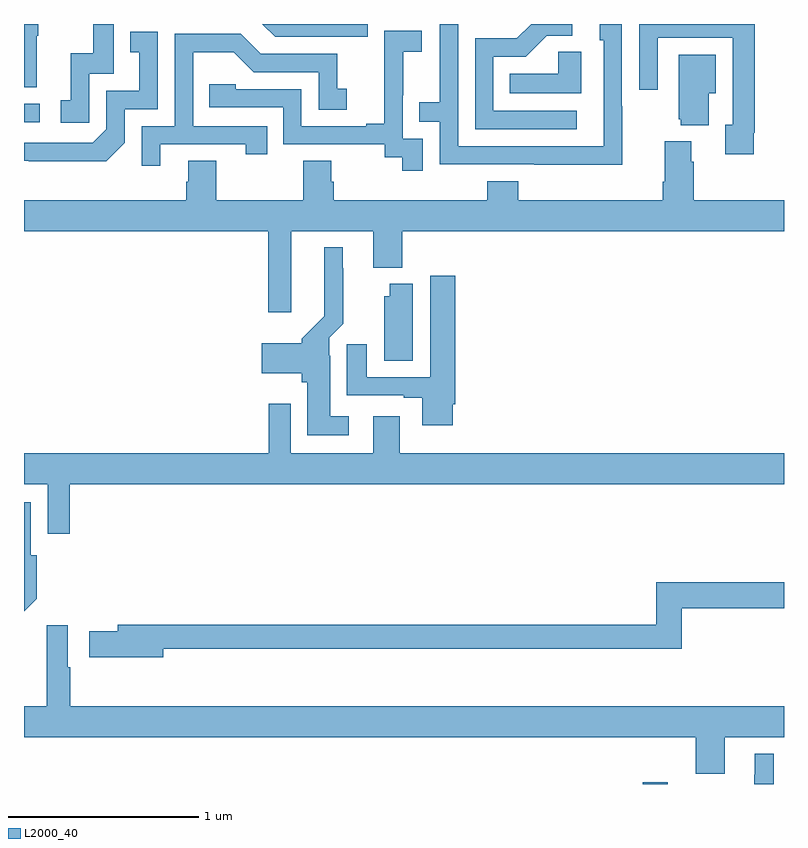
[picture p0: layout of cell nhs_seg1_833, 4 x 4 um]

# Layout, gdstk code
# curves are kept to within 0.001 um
import gdstk
lib = gdstk.Library(unit=1e-6, precision=1e-09)
def R(c, l, rs):  # rectangles x0, y0, x1, y1
    for r in rs: c.add(gdstk.rectangle(r[:2], r[2:], *l))
def P(c, l, *ps):  # polygons
    for p in ps: c.add(gdstk.Polygon(p, *l))
L2000_40 = (2000, 40)

nhs_seg1_833 = lib.new_cell('nhs_seg1_833')
R(nhs_seg1_833, L2000_40, [(160.256,506.199,160.387,506.209), (157,509.682,157.084,509.778)])
P(nhs_seg1_833, L2000_40, [(157.066,510.137),(157.074,510.137),(157.074,510.199),(157,510.199),(157,509.867),(157.066,509.867)],
  [(160.149,509.765),(160.146,509.765),(160.146,510.199),(160.031,510.199),(160.031,510.114),(160.05,510.114),(160.05,509.556),(159.285,509.556),(159.285,510.199),(159.189,510.199),(159.189,509.786),(159.079,509.786),(159.079,509.685),(159.189,509.685),(159.189,509.46),(159.685,509.46),(159.685,509.459),(160.149,509.459)],
  [(158.808,510.199),(158.255,510.199),(158.322,510.132),(158.808,510.132)],
  [(157.344,509.937),(157.473,509.937),(157.473,510.199),(157.365,510.199),(157.365,510.046),(157.247,510.046),(157.247,509.799),(157.194,509.799),(157.194,509.679),(157.344,509.679)],
  [(160.84,509.626),(160.847,509.626),(160.847,510.199),(160.239,510.199),(160.239,509.853),(160.335,509.853),(160.335,510.126),(160.731,510.126),(160.731,509.67),(160.691,509.67),(160.691,509.514),(160.84,509.514)],
  [(159.91,509.742),(159.471,509.742),(159.471,510.027),(159.64,510.027),(159.751,510.138),(159.886,510.138),(159.886,510.199),(159.67,510.199),(159.594,510.123),(159.375,510.123),(159.375,509.646),(159.91,509.646)],
  [(159.099,509.595),(158.994,509.595),(158.994,509.825),(158.996,509.825),(158.996,510.053),(159.094,510.053),(159.094,510.163),(158.896,510.163),(158.896,509.957),(158.897,509.957),(158.897,509.674),(158.801,509.674),(158.801,509.661),(158.46,509.661),(158.46,509.856),(158.115,509.856),(158.115,509.883),(157.975,509.883),(157.975,509.76),(158.364,509.76),(158.364,509.565),(158.898,509.565),(158.898,509.497),(158.991,509.497),(158.991,509.427),(159.099,509.427)],
  [(157.53,509.574),(157.53,509.751),(157.704,509.751),(157.704,510.157),(157.558,510.157),(157.558,510.051),(157.607,510.051),(157.607,509.847),(157.434,509.847),(157.434,509.646),(157.362,509.574),(157,509.574),(157,509.478),(157.024,509.477),(157.432,509.477)],
  [(157.717,509.565),(158.168,509.565),(158.168,509.514),(158.279,509.514),(158.279,509.661),(157.89,509.661),(157.89,510.05),(158.104,510.05),(158.208,509.946),(158.55,509.946),(158.55,509.748),(158.698,509.748),(158.698,509.857),(158.649,509.857),(158.649,510.042),(158.245,510.042),(158.14,510.147),(157.794,510.147),(157.794,509.661),(157.62,509.661),(157.62,509.454),(157.717,509.454)],
  [(159.934,510.053),(159.813,510.053),(159.813,509.938),(159.556,509.938),(159.556,509.834),(159.934,509.834)],
  [(160.603,509.834),(160.642,509.834),(160.642,510.037),(160.445,510.037),(160.445,509.697),(160.457,509.697),(160.457,509.666),(160.603,509.666)],
  [(158.407,509.108),(158.837,509.108),(158.837,508.916),(158.99,508.916),(158.99,509.108),(161,509.108),(161,509.272),(160.526,509.272),(160.526,509.474),(160.513,509.474),(160.513,509.581),(160.373,509.581),(160.373,509.368),(160.361,509.368),(160.361,509.272),(159.602,509.272),(159.602,509.371),(159.437,509.371),(159.437,509.272),(158.63,509.272),(158.63,509.37),(158.617,509.37),(158.617,509.48),(158.47,509.48),(158.47,509.272),(158.013,509.272),(158.013,509.48),(157.865,509.48),(157.865,509.37),(157.853,509.37),(157.853,509.272),(157,509.272),(157,509.108),(158.285,509.108),(158.285,508.683),(158.407,508.683)],
  [(158.71,508.135),(158.611,508.135),(158.611,508.454),(158.607,508.454),(158.607,508.548),(158.681,508.622),(158.681,508.913),(158.677,508.913),(158.677,509.023),(158.579,509.023),(158.58,508.66),(158.462,508.542),(158.462,508.519),(158.25,508.519),(158.25,508.361),(158.462,508.361),(158.462,508.314),(158.492,508.314),(158.492,508.034),(158.71,508.034)],
  [(159.256,508.198),(159.269,508.198),(159.269,508.873),(159.137,508.873),(159.137,508.341),(158.803,508.341),(158.803,508.513),(158.699,508.513),(158.699,508.245),(158.999,508.245),(158.999,508.233),(159.095,508.233),(159.095,508.086),(159.256,508.086)],
  [(159.046,508.831),(158.924,508.831),(158.924,508.767),(158.897,508.767),(158.897,508.426),(159.046,508.426)],
  [(157,507.776),(157.125,507.776),(157.125,507.516),(157.241,507.516),(157.241,507.776),(161,507.776),(161,507.94),(158.977,507.94),(158.977,508.135),(158.837,508.135),(158.837,507.94),(158.403,507.94),(158.403,508.201),(158.287,508.201),(158.287,507.94),(157,507.94)],
  [(157.067,507.173),(157.067,507.402),(157.036,507.402),(157.036,507.682),(157,507.682),(157,507.107)],
  [(157.732,506.91),(160.463,506.91),(160.463,507.124),(161,507.124),(161,507.26),(160.327,507.26),(160.327,507.038),(157.493,507.038),(157.493,507.002),(157.344,507.002),(157.344,506.867),(157.732,506.867)],
  [(160.687,506.444),(161,506.444),(161,506.608),(157.244,506.608),(157.244,506.813),(157.231,506.813),(157.231,507.034),(157.121,507.034),(157.121,506.608),(157,506.608),(157,506.444),(160.535,506.444),(160.535,506.252),(160.687,506.252)],
  [(160.945,506.359),(160.847,506.359),(160.847,506.249),(160.843,506.249),(160.843,506.199),(160.945,506.199)])

lib.write_gds('nhs_seg1_833.gds')
